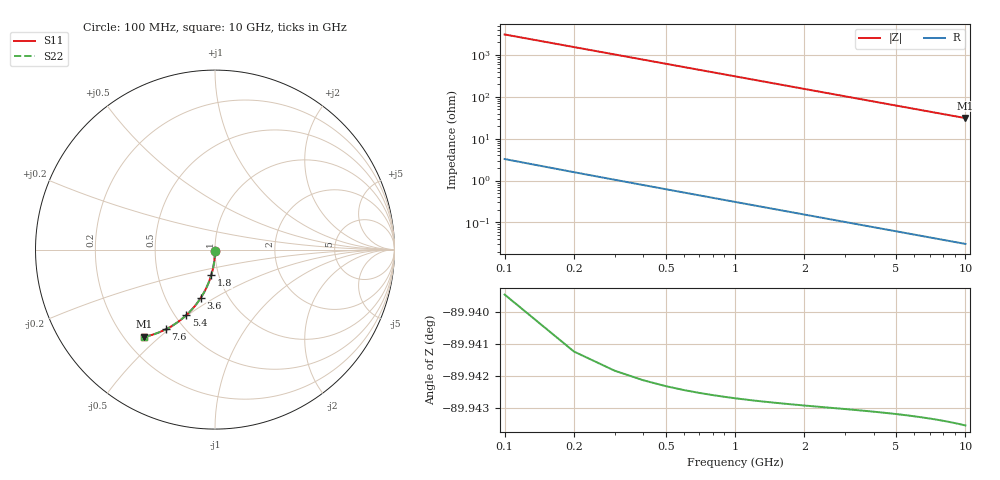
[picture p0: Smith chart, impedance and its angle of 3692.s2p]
# Hz S RI R 50.00
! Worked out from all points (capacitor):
!   100 points, 100 MHz to 10 GHz, reference 50 ohm
!   read as one part in shunt: C = 514 fF near 100 MHz
!   lowest |Z| = 31.1 ohm at 10 GHz (marker M1)
!   S11 on the Smith chart (normalised r, x): 100 MHz: 1.00, -0.02; 1.8 GHz: 0.92, -0.27; 3.6 GHz: 0.75, -0.43; 5.4 GHz: 0.57, -0.49; 7.6 GHz: 0.40, -0.49; 10 GHz: 0.28, -0.45
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1e8  -5.85e-05 -0.00805  0.9999 -0.00809  0.9999 -0.00809  -5.85e-05 -0.00805
2e8  -0.000262 -0.0161  0.9997 -0.0162  0.9997 -0.0162  -0.000262 -0.0161
3e8  -0.000595 -0.0241  0.9994 -0.0243  0.9994 -0.0243  -0.000595 -0.0241
4e8  -0.00106 -0.0322  0.9989 -0.0323  0.9989 -0.0323  -0.00106 -0.0322
5e8  -0.00165 -0.0402  0.9983 -0.0404  0.9983 -0.0404  -0.00165 -0.0402
6e8  -0.00237 -0.0482  0.9976 -0.0484  0.9976 -0.0484  -0.00237 -0.0482
8e8  -0.0042 -0.0641  0.9958 -0.0644  0.9958 -0.0644  -0.0042 -0.0641
1.1e9  -0.00789 -0.0879  0.9921 -0.0883  0.9921 -0.0883  -0.00789 -0.0879
1.4e9  -0.0127 -0.1113  0.9873 -0.1118  0.9873 -0.1118  -0.0127 -0.1113
1.8e9  -0.0208 -0.1419  0.9792 -0.1426  0.9792 -0.1426  -0.0208 -0.1419
2.1e9  -0.0281 -0.1643  0.9719 -0.1651  0.9719 -0.1651  -0.0281 -0.1643
2.5e9  -0.0393 -0.1933  0.9607 -0.1942  0.9607 -0.1942  -0.0393 -0.1933
2.9e9  -0.0521 -0.2212  0.9479 -0.2223  0.9479 -0.2223  -0.0521 -0.2212
3.4e9  -0.0701 -0.2543  0.9298 -0.2556  0.9298 -0.2556  -0.0701 -0.2543
3.6e9  -0.078 -0.2669  0.922 -0.2683  0.922 -0.2683  -0.078 -0.2669
4.3e9  -0.1075 -0.3085  0.8924 -0.3101  0.8924 -0.3101  -0.1075 -0.3085
5.1e9  -0.1448 -0.3504  0.8552 -0.3524  0.8552 -0.3524  -0.1448 -0.3504
5.4e9  -0.1595 -0.3646  0.8405 -0.3667  0.8405 -0.3667  -0.1595 -0.3646
6.7e9  -0.2258 -0.4163  0.7742 -0.4189  0.7742 -0.4189  -0.2258 -0.4163
7.6e9  -0.2726 -0.4434  0.7273 -0.4463  0.7273 -0.4463  -0.2726 -0.4434
8.4e9  -0.3139 -0.462  0.6861 -0.4652  0.6861 -0.4652  -0.3139 -0.462
1e10  -0.3929 -0.486  0.6071 -0.4898  0.6071 -0.4898  -0.3929 -0.486
